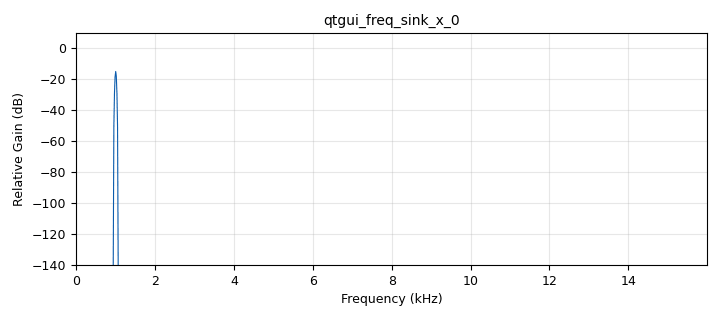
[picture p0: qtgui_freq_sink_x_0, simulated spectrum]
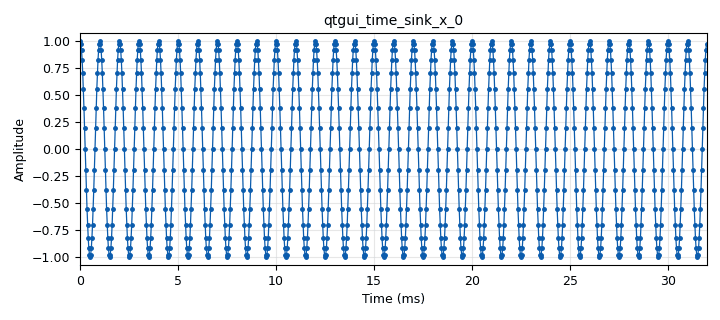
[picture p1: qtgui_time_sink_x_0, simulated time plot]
options:
  parameters:
    generate_options: qt_gui
    id: sampling_example
    output_language: python
  states: {}

blocks:
- name: freq_a
  id: variable_qtgui_range
  parameters:
    label: cos Frequency
    orient: Qt.Horizontal
    start: 1e2
    step: '1'
    stop: 64000/2
    value: 1e3
  states: {}
- name: samp_rate
  id: variable_qtgui_chooser
  parameters:
    num_opts: '5'
    option1: '24000'
    option2: '32000'
    option3: '48000'
    option4: '64000'
    type: int
    value: '32000'
  states: {}
- name: blocks_throttle_0
  id: blocks_throttle
  parameters:
    samples_per_second: samp_rate
    type: float
  states: {}
- name: qtgui_freq_sink_x_0
  id: qtgui_freq_sink_x
  parameters:
    bw: samp_rate
    fc: '0'
    fftsize: '2048'
    freqhalf: 'False'
    gui_hint: tab@1
    showports: 'True'
    type: float
    wintype: firdes.WIN_BLACKMAN_hARRIS
  states: {}
- name: qtgui_time_sink_x_0
  id: qtgui_time_sink_x
  parameters:
    ctrlpanel: 'True'
    gui_hint: tab@0
    label1: ''
    marker1: '0'
    size: '1024'
    srate: samp_rate
    type: float
    width1: '2'
  states: {}
- name: signal_A
  id: analog_sig_source_x
  parameters:
    amp: '1'
    freq: freq_a
    offset: '0'
    phase: '0'
    samp_rate: samp_rate
    type: float
    waveform: analog.GR_COS_WAVE
  states: {}
- name: tab
  id: qtgui_tab_widget
  parameters:
    label0: Time Domain
    label1: Frequency Domain
    num_tabs: '2'
  states: {}

connections:
- [blocks_throttle_0, '0', qtgui_freq_sink_x_0, '0']
- [blocks_throttle_0, '0', qtgui_time_sink_x_0, '0']
- [signal_A, '0', blocks_throttle_0, '0']

metadata:
  file_format: 1
